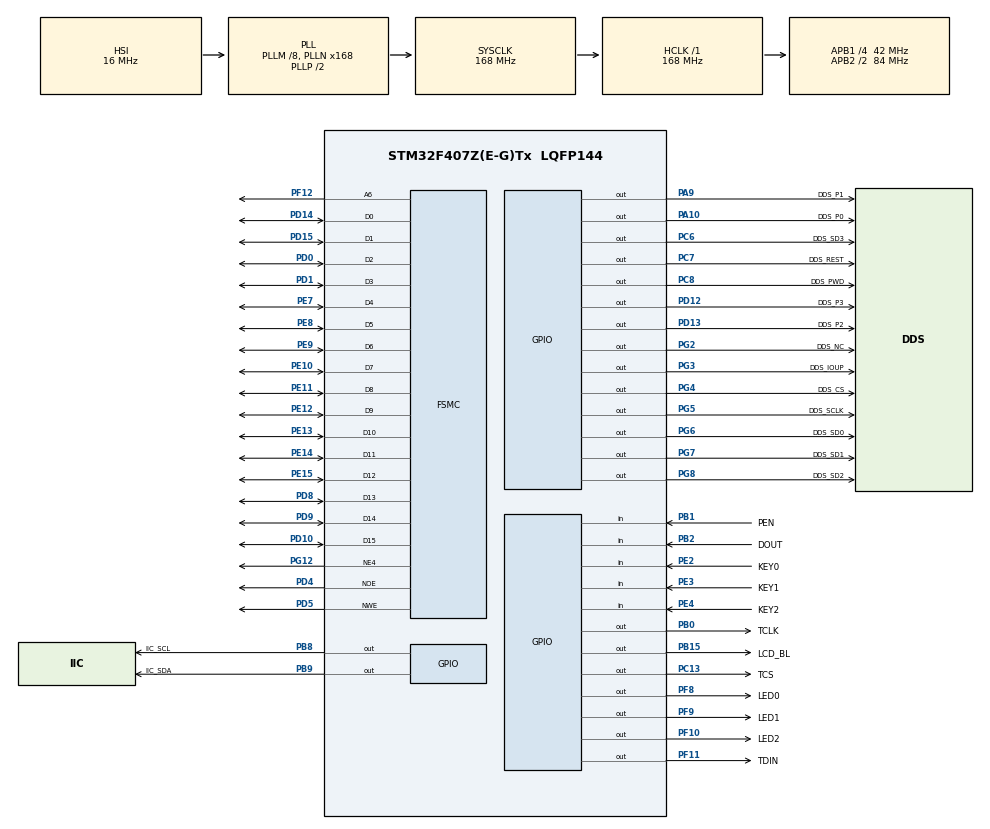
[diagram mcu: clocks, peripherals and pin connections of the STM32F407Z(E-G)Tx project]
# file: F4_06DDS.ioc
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PD12.GPIO_Label=DDS_P3
PH0-OSC_IN.Signal=RCC_OSC_IN
PF10.GPIO_ModeDefaultOutputPP=GPIO_MODE_OUTPUT_PP
SH.FSMC_D1_DA1.0=FSMC_D1,16b-d1
PG6.PinState=GPIO_PIN_RESET
PG4.Signal=GPIO_Output
PG8.Signal=GPIO_Output
PG6.GPIO_Label=DDS_SD0
SH.FSMC_NWE.0=FSMC_NWE,Lcd1
PE8.GPIO_PuPd=GPIO_PULLUP
PC6.GPIO_Label=DDS_SD3
PE10.GPIO_PuPd=GPIO_PULLUP
PD10.GPIO_PuPd=GPIO_PULLUP
FSMC.ExtendedBusTurnAroundDuration1=0
PF10.GPIO_PuPd=GPIO_PULLUP
PF8.PinState=GPIO_PIN_SET
RCC.SYSCLKSource=RCC_SYSCLKSOURCE_PLLCLK
PA10.PinState=GPIO_PIN_RESET
PD4.Signal=FSMC_NOE
RCC.APB2TimFreq_Value=168000000
PC7.Signal=GPIO_Output
PD0.Signal=FSMC_D2_DA2
PD8.Signal=FSMC_D13_DA13
PF10.GPIO_Label=LED2
PB2.Signal=GPIO_Input
PC13-ANTI_TAMP.Signal=GPIO_Output
SH.FSMC_D10_DA10.0=FSMC_D10,16b-d1
PF8.GPIO_ModeDefaultOutputPP=GPIO_MODE_OUTPUT_PP
PE9.Signal=FSMC_D6_DA6
PB1.GPIO_Label=PEN
PG4.GPIO_Label=DDS_CS
PE4.GPIO_Label=KEY2
PE2.Signal=GPIO_Input
PD14.GPIO_PuPd=GPIO_PULLUP
FSMC.BusTurnAroundDuration1=0
PE10.Signal=FSMC_D7_DA7
SH.FSMC_D5_DA5.0=FSMC_D5,16b-d1
PB2.GPIO_PuPd=GPIO_PULLUP
Mcu.Package=LQFP144
PB9.Signal=GPIO_Output
PB1.Signal=GPIO_Input
PD12.Signal=GPIO_Output
PA10.Signal=GPIO_Output
PB9.GPIO_PuPd=GPIO_PULLUP
PC8.GPIO_Speed=GPIO_SPEED_FREQ_VERY_HIGH
PG8.GPIO_Speed=GPIO_SPEED_FREQ_VERY_HIGH
RCC.APB2CLKDivider=RCC_HCLK_DIV2
SH.FSMC_D3_DA3.0=FSMC_D3,16b-d1
PG12.GPIO_PuPd=GPIO_PULLUP
RCC.APB1TimFreq_Value=84000000
PF9.GPIO_PuPd=GPIO_PULLUP
PD9.GPIO_PuPd=GPIO_PULLUP
PC6.GPIO_Speed=GPIO_SPEED_FREQ_VERY_HIGH
PD15.Signal=FSMC_D1_DA1
PG6.GPIO_Speed=GPIO_SPEED_FREQ_VERY_HIGH
PE12.GPIO_PuPd=GPIO_PULLUP
PG12.Signal=FSMC_NE4
PD12.PinState=GPIO_PIN_RESET
FSMC.ExtendedAddressSetupTime1=9
PC13-ANTI_TAMP.GPIO_Label=TCS
PG5.Signal=GPIO_Output
PA9.GPIO_Label=DDS_P1
PB8.GPIO_PuPd=GPIO_PULLUP
PC6.Signal=GPIO_Output
PD1.Signal=FSMC_D3_DA3
SH.FSMC_D9_DA9.0=FSMC_D9,16b-d1
PD1.GPIO_PuPd=GPIO_PULLUP
RCC.APB1CLKDivider=RCC_HCLK_DIV4
SH.FSMC_D8_DA8.0=FSMC_D8,16b-d1
PF8.GPIO_Label=LED0
PD10.Signal=FSMC_D15_DA15
PF11.GPIO_Speed=GPIO_SPEED_FREQ_VERY_HIGH
PB8.GPIO_Label=IIC_SCL
PG2.PinState=GPIO_PIN_RESET
PG5.PinState=GPIO_PIN_RESET
FSMC.DataSetupTime1=60
PB1.GPIO_Mode=GPIO_MODE_INPUT
PA9.Signal=GPIO_Output
PA9.PinState=GPIO_PIN_RESET
PG7.PinState=GPIO_PIN_RESET
PC6.PinState=GPIO_PIN_RESET
PE2.GPIO_PuPd=GPIO_PULLUP
SH.FSMC_D7_DA7.0=FSMC_D7,16b-d1
PE14.Signal=FSMC_D11_DA11
PE15.Signal=FSMC_D12_DA12
PB15.GPIO_Label=LCD_BL
PE8.Signal=FSMC_D5_DA5
PG7.GPIO_Label=DDS_SD1
PE3.GPIO_PuPd=GPIO_PULLUP
PA13.Mode=Serial_Wire
PE4.GPIO_PuPd=GPIO_PULLUP
PC7.GPIO_Label=DDS_REST
SH.FSMC_D15_DA15.0=FSMC_D15,16b-d1
ProjectManager.HeapSize=0x200
PD0.GPIO_PuPd=GPIO_PULLUP
PF9.Signal=GPIO_Output
PF9.GPIO_ModeDefaultOutputPP=GPIO_MODE_OUTPUT_PP
NVIC.PriorityGroup=NVIC_PRIORITYGROUP_4
PF12.GPIO_PuPd=GPIO_PULLUP
PE3.Signal=GPIO_Input
PG3.GPIO_Label=DDS_IOUP
PG5.GPIO_Speed=GPIO_SPEED_FREQ_VERY_HIGH
PF10.PinState=GPIO_PIN_SET
PB0.Signal=GPIO_Output
Mcu.Family=STM32F4
FSMC.AddressSetupTime1=0x0f
PE7.GPIO_PuPd=GPIO_PULLUP
RCC.CortexFreq_Value=168000000
PG6.Signal=GPIO_Output
SH.FSMC_A6.0=FSMC_A6,A6_1
PG2.Signal=GPIO_Output
SH.FSMC_D0_DA0.0=FSMC_D0,16b-d1
PF9.GPIO_Speed=GPIO_SPEED_FREQ_VERY_HIGH
PB0.GPIO_Label=TCLK
PD8.GPIO_PuPd=GPIO_PULLUP
PG5.GPIO_Label=DDS_SCLK
PB15.Signal=GPIO_Output
ProjectManager.StackSize=0x400
PG2.GPIO_Speed=GPIO_SPEED_FREQ_VERY_HIGH
PC8.PinState=GPIO_PIN_RESET
PD13.Signal=GPIO_Output
PE11.GPIO_PuPd=GPIO_PULLUP
PB1.GPIO_PuPd=GPIO_PULLUP
RCC.HCLKFreq_Value=168000000
PF11.GPIO_Label=TDIN
PF12.Signal=FSMC_A6
RCC.AHBFreq_Value=168000000
PH0-OSC_IN.Mode=HSE-External-Oscillator
RCC.HSE_VALUE=8000000
PE13.GPIO_PuPd=GPIO_PULLUP
PE13.Signal=FSMC_D10_DA10
SH.FSMC_D14_DA14.0=FSMC_D14,16b-d1
PG4.GPIO_Speed=GPIO_SPEED_FREQ_VERY_HIGH
PF8.GPIO_PuPd=GPIO_PULLUP
PA14.Mode=Serial_Wire
PF11.Signal=GPIO_Output
SH.FSMC_D6_DA6.0=FSMC_D6,16b-d1
PA10.GPIO_Label=DDS_P0
PC7.PinState=GPIO_PIN_RESET
PE4.Signal=GPIO_Input
SH.FSMC_D4_DA4.0=FSMC_D4,16b-d1
PH1-OSC_OUT.Mode=HSE-External-Oscillator
PD13.GPIO_Label=DDS_P2
PG4.PinState=GPIO_PIN_RESET
PB15.GPIO_PuPd=GPIO_PULLUP
PD15.GPIO_PuPd=GPIO_PULLUP
SH.FSMC_D13_DA13.0=FSMC_D13,16b-d1
PF8.Signal=GPIO_Output
PA10.GPIO_Speed=GPIO_SPEED_FREQ_VERY_HIGH
PB9.GPIO_Speed=GPIO_SPEED_FREQ_VERY_HIGH
PG8.PinState=GPIO_PIN_RESET
SH.FSMC_D2_DA2.0=FSMC_D2,16b-d1
PE7.Signal=FSMC_D4_DA4
PE2.GPIO_Label=KEY0
PG2.GPIO_Label=DDS_NC
SH.FSMC_D12_DA12.0=FSMC_D12,16b-d1
PD12.GPIO_Speed=GPIO_SPEED_FREQ_VERY_HIGH
PG7.Signal=GPIO_Output
PB9.GPIO_Label=IIC_SDA
PG3.Signal=GPIO_Output
FSMC.ExtendedMode1=FSMC_EXTENDED_MODE_ENABLE
PC8.Signal=GPIO_Output
PF10.GPIO_Speed=GPIO_SPEED_FREQ_VERY_HIGH
PD9.Signal=FSMC_D14_DA14
PD5.Signal=FSMC_NWE
PB0.GPIO_Speed=GPIO_SPEED_FREQ_VERY_HIGH
PG8.GPIO_Label=DDS_SD2
PC8.GPIO_Label=DDS_PWD
PA13.Signal=SYS_JTMS-SWDIO
PD4.GPIO_PuPd=GPIO_PULLUP
ProjectManager.TargetToolchain=STM32CubeIDE
PF9.PinState=GPIO_PIN_SET
PF9.GPIO_Label=LED1
PE11.Signal=FSMC_D8_DA8
RCC.LSE_VALUE=32768
FSMC.ExtendedDataSetupTime1=8
board=custom
PD13.GPIO_Speed=GPIO_SPEED_FREQ_VERY_HIGH
PG12.Mode=NorPsramChipSelect4_1
PC7.GPIO_Speed=GPIO_SPEED_FREQ_VERY_HIGH
RCC.VCOOutputFreq_Value=336000000
PG3.PinState=GPIO_PIN_RESET
PG7.GPIO_Speed=GPIO_SPEED_FREQ_VERY_HIGH
RCC.APB2Freq_Value=84000000
PF10.Signal=GPIO_Output
PB15.GPIO_Speed=GPIO_SPEED_FREQ_MEDIUM
PH1-OSC_OUT.Signal=RCC_OSC_OUT
PD5.GPIO_PuPd=GPIO_PULLUP
PE14.GPIO_PuPd=GPIO_PULLUP
Mcu.Name=STM32F407Z(E-G)Tx
PE12.Signal=FSMC_D9_DA9
PD14.Signal=FSMC_D0_DA0
RCC.48MHZClocksFreq_Value=84000000
RCC.SYSCLKFreq_VALUE=168000000
PG3.GPIO_Speed=GPIO_SPEED_FREQ_VERY_HIGH
PA14.Signal=SYS_JTCK-SWCLK
PB2.GPIO_Label=DOUT
PE15.GPIO_PuPd=GPIO_PULLUP
SH.FSMC_D11_DA11.0=FSMC_D11,16b-d1
SH.FSMC_NOE.0=FSMC_NOE,Lcd1
RCC.HSI_VALUE=16000000
RCC.PLLM=8
RCC.PLLN=168
PF8.GPIO_Speed=GPIO_SPEED_FREQ_VERY_HIGH
PA9.GPIO_Speed=GPIO_SPEED_FREQ_VERY_HIGH
PB8.Signal=GPIO_Output
PE3.GPIO_Label=KEY1
PD13.PinState=GPIO_PIN_RESET
RCC.APB1Freq_Value=42000000
PB8.GPIO_Speed=GPIO_SPEED_FREQ_VERY_HIGH
PB0.GPIO_PuPd=GPIO_PULLUP
PE9.GPIO_PuPd=GPIO_PULLUP

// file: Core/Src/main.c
/* USER CODE BEGIN Header */
/**
  ******************************************************************************
  * @file           : main.c
  * @brief          : Main program body
  ******************************************************************************
  * @attention
  *
  * <h2><center>&copy; Copyright (c) 2021 STMicroelectronics.
  * All rights reserved.</center></h2>
  *
  * This software component is licensed by ST under BSD 3-Clause license,
  * the "License"; You may not use this file except in compliance with the
  * License. You may obtain a copy of the License at:
  *                        opensource.org/licenses/BSD-3-Clause
  *
  ******************************************************************************
  */
/* USER CODE END Header */
#include "main.h"
#include "gpio.h"
#include "fsmc.h"

/* USER CODE BEGIN Includes */
#include "base.h"
#include "lcd.h"
#include "touch.h"
#include "ad9959dds.h"
/* USER CODE END Includes */

void SystemClock_Config(void);

int main(void)
{

  /* MCU Configuration--------------------------------------------------------*/

  /* Reset of all peripherals, Initializes the Flash interface and the Systick. */
  HAL_Init();

  /* Configure the system clock */
  SystemClock_Config();

  /* Initialize all configured peripherals */
  MX_GPIO_Init();
  MX_FSMC_Init();
  /* USER CODE BEGIN 2 */
  delay_init(168);
  LCD_Init();
  tp_dev.init();
  Init_AD9959();

  Out_freq(0, 1000000);
  Out_mV(0, 1000);

  Out_freq(1, 1000);
  Out_mV(1, 1000);

  Out_freq(2, 1000);
  Out_mV(2, 1000);

  Out_freq(3, 1000);
  Out_mV(3, 1000);

  LCD_ShowString(30,40,210,24,24,(uint8_t *)"MINI STM32F4");
  LCD_ShowString(30,70,200,16,16,(uint8_t *)"TFTLCD TEST");
  LCD_ShowString(30,90,200,16,16,(uint8_t *)"ATOM@ALIENTEK");
  LCD_ShowString(30,110,200,16,16,(uint8_t *)"The First Test");
  LCD_ShowString(30,130,200,12,12,(uint8_t *)"2021/4/8");

  POINT_COLOR=RED;
  /* USER CODE END 2 */

  /* Infinite loop */
  while (1)
  {

  }
}

void SystemClock_Config(void)
{
  RCC_OscInitTypeDef RCC_OscInitStruct = {0};
  RCC_ClkInitTypeDef RCC_ClkInitStruct = {0};

  /** Configure the main internal regulator output voltage
  */
  __HAL_RCC_PWR_CLK_ENABLE();
  __HAL_PWR_VOLTAGESCALING_CONFIG(PWR_REGULATOR_VOLTAGE_SCALE1);
  /** Initializes the RCC Oscillators according to the specified parameters
  * in the RCC_OscInitTypeDef structure.
  */
  RCC_OscInitStruct.OscillatorType = RCC_OSCILLATORTYPE_HSI;
  RCC_OscInitStruct.HSIState = RCC_HSI_ON;
  RCC_OscInitStruct.HSICalibrationValue = RCC_HSICALIBRATION_DEFAULT;
  RCC_OscInitStruct.PLL.PLLState = RCC_PLL_ON;
  RCC_OscInitStruct.PLL.PLLSource = RCC_PLLSOURCE_HSI;
  RCC_OscInitStruct.PLL.PLLM = 8;
  RCC_OscInitStruct.PLL.PLLN = 168;
  RCC_OscInitStruct.PLL.PLLP = RCC_PLLP_DIV2;
  RCC_OscInitStruct.PLL.PLLQ = 4;
  if (HAL_RCC_OscConfig(&RCC_OscInitStruct) != HAL_OK)
  {
    Error_Handler();
  }
  /** Initializes the CPU, AHB and APB buses clocks
  */
  RCC_ClkInitStruct.ClockType = RCC_CLOCKTYPE_HCLK|RCC_CLOCKTYPE_SYSCLK
                              |RCC_CLOCKTYPE_PCLK1|RCC_CLOCKTYPE_PCLK2;
  RCC_ClkInitStruct.SYSCLKSource = RCC_SYSCLKSOURCE_PLLCLK;
  RCC_ClkInitStruct.AHBCLKDivider = RCC_SYSCLK_DIV1;
  RCC_ClkInitStruct.APB1CLKDivider = RCC_HCLK_DIV4;
  RCC_ClkInitStruct.APB2CLKDivider = RCC_HCLK_DIV2;

  if (HAL_RCC_ClockConfig(&RCC_ClkInitStruct, FLASH_LATENCY_5) != HAL_OK)
  {
    Error_Handler();
  }
}

void Error_Handler(void)
{
  __disable_irq();
  while (1)
  {
  }
}

/************************ (C) COPYRIGHT STMicroelectronics *****END OF FILE****/
